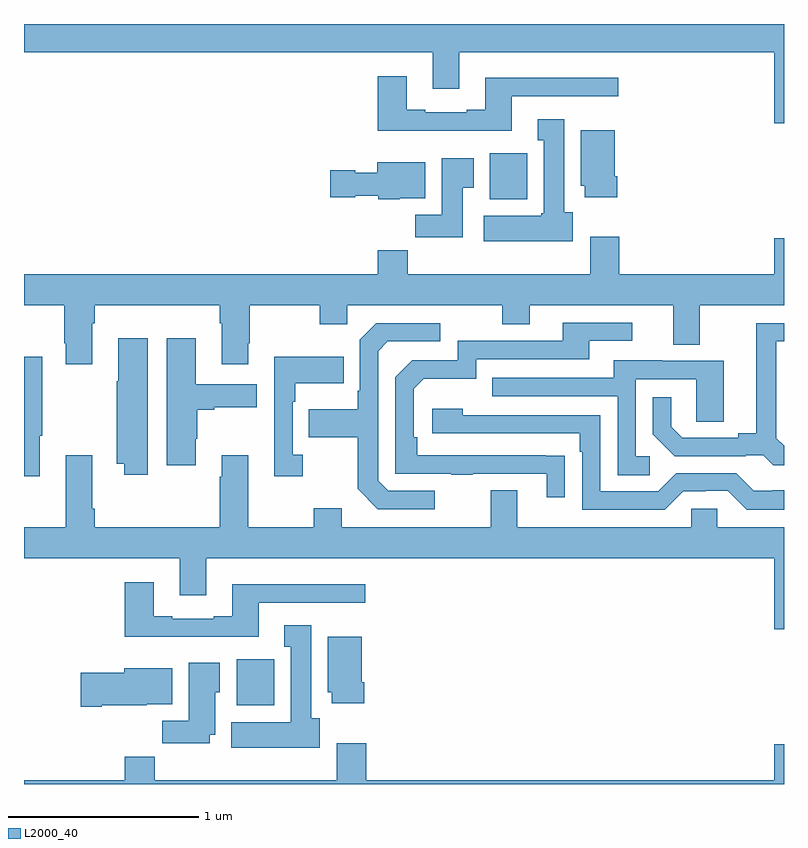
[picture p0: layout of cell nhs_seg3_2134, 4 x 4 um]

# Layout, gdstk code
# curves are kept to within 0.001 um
import gdstk
lib = gdstk.Library(unit=1e-6, precision=1e-09)
def R(c, l, rs):  # rectangles x0, y0, x1, y1
    for r in rs: c.add(gdstk.rectangle(r[:2], r[2:], *l))
def P(c, l, *ps):  # polygons
    for p in ps: c.add(gdstk.Polygon(p, *l))
L2000_40 = (2000, 40)

nhs_seg3_2134 = lib.new_cell('nhs_seg3_2134')
R(nhs_seg3_2134, L2000_40, [(222.119,694.814,222.316,695.056), (223.451,697.478,223.648,697.72)])
P(nhs_seg3_2134, L2000_40, [(225,698.4),(221,698.4),(221,698.252),(223.151,698.252),(223.151,698.058),(223.291,698.058),(223.291,698.252),(224.948,698.252),(224.948,697.878),(225,697.878)],
  [(223.567,698.019),(224.128,698.019),(224.128,698.116),(223.427,698.116),(223.427,697.948),(223.331,697.948),(223.331,697.935),(223.111,697.935),(223.111,697.948),(223.015,697.948),(223.015,698.125),(222.863,698.125),(222.863,697.838),(223.567,697.838)],
  [(223.888,697.41),(223.843,697.41),(223.843,697.9),(223.703,697.9),(223.703,697.787),(223.736,697.787),(223.736,697.404),(223.723,697.404),(223.723,697.39),(223.419,697.39),(223.419,697.256),(223.888,697.256)],
  [(224.123,697.6),(224.11,697.6),(224.11,697.84),(223.931,697.84),(223.931,697.548),(223.952,697.548),(223.952,697.488),(224.123,697.488)],
  [(223.309,697.537),(223.366,697.537),(223.366,697.693),(223.199,697.693),(223.199,697.396),(223.06,697.396),(223.06,697.278),(223.309,697.278)],
  [(222.978,697.484),(223.111,697.484),(223.111,697.672),(222.86,697.672),(222.86,697.618),(222.744,697.618),(222.744,697.631),(222.612,697.631),(222.612,697.489),(222.744,697.489),(222.744,697.496),(222.864,697.496),(222.864,697.478),(222.978,697.478)],
  [(221.359,696.824),(221.372,696.824),(221.372,696.92),(222.029,696.92),(222.029,696.824),(222.041,696.824),(222.041,696.609),(222.181,696.609),(222.181,696.721),(222.189,696.721),(222.189,696.92),(222.556,696.92),(222.556,696.821),(222.702,696.821),(222.702,696.92),(223.516,696.92),(223.516,696.821),(223.663,696.821),(223.663,696.92),(224.417,696.92),(224.417,696.712),(224.557,696.712),(224.557,696.92),(225,696.92),(225,697.273),(224.948,697.273),(224.948,697.084),(224.132,697.084),(224.132,697.279),(223.979,697.279),(223.979,697.084),(223.019,697.084),(223.019,697.208),(222.863,697.208),(222.863,697.084),(221,697.084),(221,696.92),(221.212,696.92),(221.212,696.721),(221.219,696.721),(221.219,696.609),(221.359,696.609)],
  [(223.847,696.128),(223.07,696.129),(223.07,696.226),(223.05,696.226),(223.05,696.48),(223.103,696.533),(223.38,696.533),(223.38,696.636),(223.975,696.636),(223.975,696.732),(224.2,696.732),(224.2,696.828),(223.835,696.828),(223.835,696.732),(223.284,696.732),(223.284,696.63),(223.044,696.63),(222.954,696.54),(222.954,696.033),(223.249,696.033),(223.249,696.028),(223.361,696.028),(223.361,696.033),(223.751,696.033),(223.751,695.91),(223.847,695.91)],
  [(225,696.18),(224.959,696.221),(224.959,696.729),(225,696.729),(225,696.825),(224.855,696.825),(224.855,696.245),(224.759,696.245),(224.759,696.222),(224.464,696.222),(224.407,696.279),(224.407,696.436),(224.31,696.436),(224.31,696.242),(224.426,696.126),(224.798,696.126),(224.798,696.129),(224.892,696.129),(224.944,696.077),(225,696.077)],
  [(223.162,695.943),(222.918,695.943),(222.864,695.997),(222.864,696.678),(222.915,696.729),(223.192,696.729),(223.192,696.825),(222.855,696.825),(222.768,696.738),(222.768,696.469),(222.756,696.469),(222.756,696.373),(222.499,696.373),(222.499,696.226),(222.756,696.226),(222.756,695.953),(222.861,695.847),(223.162,695.847)],
  [(221.905,696.217),(221.913,696.217),(221.913,696.371),(222.001,696.371),(222.001,696.383),(222.226,696.383),(222.226,696.505),(221.905,696.505),(221.905,696.745),(221.75,696.745),(221.75,696.078),(221.905,696.078)],
  [(221.65,696.745),(221.495,696.745),(221.495,696.521),(221.488,696.521),(221.488,696.086),(221.528,696.086),(221.528,696.027),(221.65,696.027)],
  [(221.083,696.233),(221.095,696.233),(221.095,696.649),(221,696.649),(221,696.021),(221.083,696.021)],
  [(222.466,696.134),(222.414,696.134),(222.414,696.413),(222.427,696.413),(222.427,696.509),(222.683,696.509),(222.683,696.649),(222.318,696.649),(222.318,696.287),(222.317,696.287),(222.317,696.021),(222.466,696.021)],
  [(224.293,696.126),(224.22,696.126),(224.22,696.531),(224.538,696.531),(224.538,696.307),(224.683,696.307),(224.683,696.627),(224.359,696.627),(224.359,696.631),(224.105,696.631),(224.105,696.537),(223.465,696.537),(223.465,696.441),(224.124,696.441),(224.124,696.025),(224.293,696.025)],
  [(225,695.947),(224.941,695.947),(224.941,695.943),(224.841,695.943),(224.748,696.036),(224.433,696.036),(224.337,695.94),(224.034,695.94),(224.034,696.342),(223.31,696.342),(223.31,696.376),(223.149,696.376),(223.149,696.246),(223.925,696.246),(223.925,696.149),(223.938,696.149),(223.938,695.844),(224.373,695.844),(224.469,695.94),(224.588,695.94),(224.588,695.943),(224.703,695.943),(224.803,695.843),(225,695.843)],
  [(225,695.752),(224.649,695.752),(224.649,695.85),(224.511,695.85),(224.511,695.752),(223.597,695.752),(223.597,695.947),(223.457,695.947),(223.457,695.752),(222.673,695.752),(222.673,695.851),(222.526,695.851),(222.526,695.752),(222.181,695.752),(222.181,696.13),(222.041,696.13),(222.041,696.017),(222.029,696.017),(222.029,695.752),(221.372,695.752),(221.372,695.848),(221.359,695.848),(221.359,696.13),(221.219,696.13),(221.219,695.752),(221,695.752),(221,695.588),(221.819,695.588),(221.819,695.394),(221.959,695.394),(221.959,695.588),(224.948,695.588),(224.948,695.214),(225,695.214)],
  [(222.235,695.355),(222.796,695.355),(222.796,695.452),(222.095,695.452),(222.095,695.284),(221.999,695.284),(221.999,695.271),(221.779,695.271),(221.779,695.284),(221.683,695.284),(221.683,695.461),(221.531,695.461),(221.531,695.174),(222.235,695.174)],
  [(222.556,694.746),(222.511,694.746),(222.511,695.236),(222.371,695.236),(222.371,695.123),(222.404,695.123),(222.404,694.726),(222.092,694.726),(222.092,694.592),(222.556,694.592)],
  [(222.791,694.936),(222.778,694.936),(222.778,695.176),(222.599,695.176),(222.599,694.884),(222.62,694.884),(222.62,694.824),(222.791,694.824)],
  [(221.977,694.658),(222.007,694.658),(222.007,694.884),(222.031,694.884),(222.031,695.038),(221.867,695.038),(221.867,694.732),(221.728,694.732),(221.728,694.614),(221.977,694.614)],
  [(221.41,694.814),(221.646,694.814),(221.646,694.82),(221.779,694.82),(221.779,695.008),(221.528,695.008),(221.528,694.985),(221.298,694.985),(221.298,694.807),(221.41,694.807)],
  [(225,694.609),(224.948,694.609),(224.948,694.42),(222.8,694.42),(222.8,694.615),(222.647,694.615),(222.647,694.42),(221.687,694.42),(221.687,694.544),(221.531,694.544),(221.531,694.42),(221,694.42),(221,694.4),(225,694.4)])

lib.write_gds('nhs_seg3_2134.gds')
